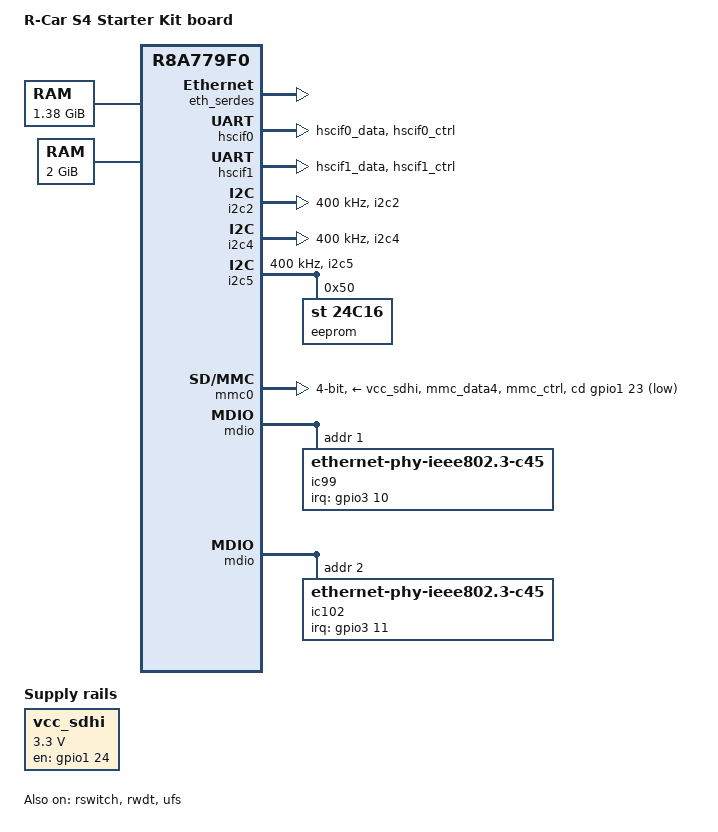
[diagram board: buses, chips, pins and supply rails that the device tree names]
// SPDX-License-Identifier: (GPL-2.0 OR MIT)
/*
 * Device Tree Source for the R-Car S4 Starter Kit board
 *
 * Copyright (C) 2023 Renesas Electronics Corp.
 */

/dts-v1/;
#include <dt-bindings/gpio/gpio.h>
#include "r8a779f4.dtsi"

/ {
	model = "R-Car S4 Starter Kit board";
	compatible = "renesas,s4sk", "renesas,r8a779f4", "renesas,r8a779f0";

	aliases {
		i2c0 = &i2c0;
		i2c1 = &i2c1;
		i2c2 = &i2c2;
		i2c3 = &i2c3;
		i2c4 = &i2c4;
		i2c5 = &i2c5;
		serial0 = &hscif0;
		serial1 = &hscif1;
		ethernet0 = &rswitch;
	};

	chosen {
		bootargs = "ignore_loglevel rw root=/dev/nfs ip=on";
		stdout-path = "serial0:921600n8";
	};

	memory@48000000 {
		device_type = "memory";
		/* first 128MB is reserved for secure area. */
		/* The last 512MB is reserved for CR. */
		reg = <0x0 0x48000000 0x0 0x58000000>;
	};

	memory@480000000 {
		device_type = "memory";
		reg = <0x4 0x80000000 0x0 0x80000000>;
	};

	vcc_sdhi: regulator-vcc-sdhi {
		compatible = "regulator-fixed";
		regulator-name = "SDHI Vcc";
		regulator-min-microvolt = <3300000>;
		regulator-max-microvolt = <3300000>;
		gpio = <&gpio1 24 GPIO_ACTIVE_HIGH>;
		enable-active-high;
	};
};

&eth_serdes {
	status = "okay";
};

&extal_clk {
	clock-frequency = <20000000>;
};

&extalr_clk {
	clock-frequency = <32768>;
};

&hscif0 {
	pinctrl-0 = <&hscif0_pins>;
	pinctrl-names = "default";

	uart-has-rtscts;
	status = "okay";
};

&hscif1 {
	pinctrl-0 = <&hscif1_pins>;
	pinctrl-names = "default";

	uart-has-rtscts;
	status = "okay";
};

&i2c2 {
	pinctrl-0 = <&i2c2_pins>;
	pinctrl-names = "default";

	status = "okay";
	clock-frequency = <400000>;
};

&i2c4 {
	pinctrl-0 = <&i2c4_pins>;
	pinctrl-names = "default";

	status = "okay";
	clock-frequency = <400000>;
};

&i2c5 {
	pinctrl-0 = <&i2c5_pins>;
	pinctrl-names = "default";

	status = "okay";
	clock-frequency = <400000>;

	eeprom@50 {
		compatible = "st,24c16", "atmel,24c16";
		reg = <0x50>;
		pagesize = <16>;
	};
};

&mmc0 {
	pinctrl-0 = <&sd_pins>;
	pinctrl-names = "default";

	vmmc-supply = <&vcc_sdhi>;
	cd-gpios = <&gpio1 23 GPIO_ACTIVE_LOW>;
	bus-width = <4>;
	status = "okay";
};

&pfc {
	pinctrl-0 = <&scif_clk_pins>;
	pinctrl-names = "default";

	hscif0_pins: hscif0 {
		groups = "hscif0_data", "hscif0_ctrl";
		function = "hscif0";
	};

	hscif1_pins: hscif1 {
		groups = "hscif1_data", "hscif1_ctrl";
		function = "hscif1";
	};

	i2c2_pins: i2c2 {
		groups = "i2c2";
		function = "i2c2";
	};

	i2c4_pins: i2c4 {
		groups = "i2c4";
		function = "i2c4";
	};

	i2c5_pins: i2c5 {
		groups = "i2c5";
		function = "i2c5";
	};

	scif_clk_pins: scif_clk {
		groups = "scif_clk";
		function = "scif_clk";
	};

	sd_pins: sd {
		groups = "mmc_data4", "mmc_ctrl";
		function = "mmc";
		power-source = <3300>;
	};

	tsn0_pins: tsn0 {
		groups = "tsn0_mdio_b", "tsn0_link_b";
		function = "tsn0";
		drive-strength = <18>;
		power-source = <3300>;
	};

	tsn1_pins: tsn1 {
		groups = "tsn1_mdio_b", "tsn1_link_b";
		function = "tsn1";
		drive-strength = <18>;
		power-source = <3300>;
	};
};

&rswitch {
	pinctrl-0 = <&tsn0_pins>, <&tsn1_pins>;
	pinctrl-names = "default";
	status = "okay";

	ethernet-ports {
		#address-cells = <1>;
		#size-cells = <0>;

		port@0 {
			reg = <0>;
			phy-handle = <&ic99>;
			phy-mode = "sgmii";
			phys = <&eth_serdes 0>;

			mdio {
				#address-cells = <1>;
				#size-cells = <0>;

				ic99: ethernet-phy@1 {
					reg = <1>;
					compatible = "ethernet-phy-ieee802.3-c45";
					interrupt-parent = <&gpio3>;
					interrupts = <10 IRQ_TYPE_LEVEL_LOW>;
				};
			};
		};

		port@1 {
			reg = <1>;
			phy-handle = <&ic102>;
			phy-mode = "sgmii";
			phys = <&eth_serdes 1>;

			mdio {
				#address-cells = <1>;
				#size-cells = <0>;

				ic102: ethernet-phy@2 {
					reg = <2>;
					compatible = "ethernet-phy-ieee802.3-c45";
					interrupt-parent = <&gpio3>;
					interrupts = <11 IRQ_TYPE_LEVEL_LOW>;
				};
			};
		};

		port@2 {
			status = "disabled";
		};
	};
};

&rwdt {
	timeout-sec = <60>;
	status = "okay";
};

&scif_clk {
	clock-frequency = <24000000>;
};

&ufs {
	status = "okay";
};

&ufs30_clk {
	clock-frequency = <38400000>;
};
